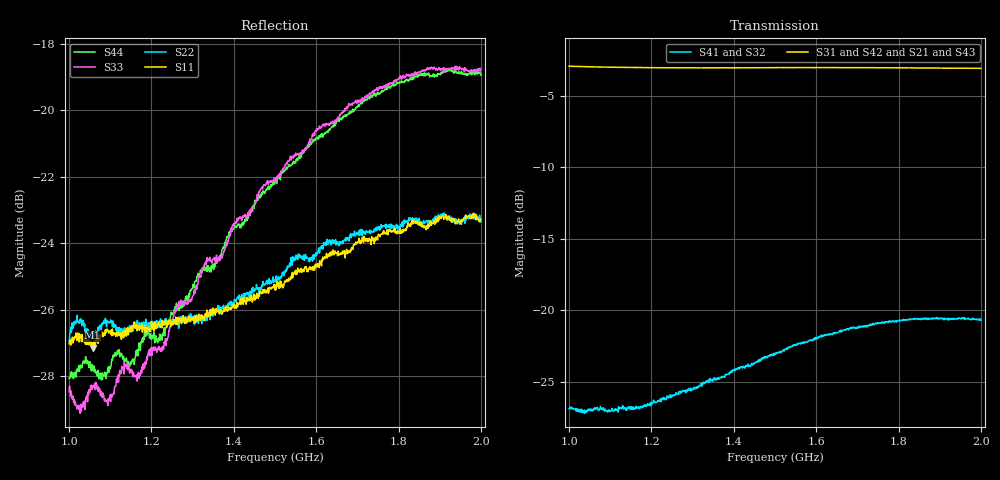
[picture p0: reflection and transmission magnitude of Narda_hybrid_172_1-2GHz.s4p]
#  HZ  S  DB  R  50.00
! Rohde & Schwarz Vector Network Analyzer
! Rohde-Schwarz,ZNB8-4Port,1311601044102961,2.82
! Created: UTC 1/17/2019, 2:09:20 PM
! freq[Hz]  db:S11  ang:S11  db:S12  ang:S12  db:S13  ang:S13  db:S14  ang:S14
!  db:S21  ang:S21  db:S22  ang:S22  db:S23  ang:S23  db:S24  ang:S24
!  db:S31  ang:S31  db:S32  ang:S32  db:S33  ang:S33  db:S34  ang:S34
!  db:S41  ang:S41  db:S42  ang:S42  db:S43  ang:S43  db:S44  ang:S44
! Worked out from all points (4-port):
!   1001 points, 1 GHz to 2 GHz, reference 50 ohm
!   strongest paths, dB at 1 GHz, 1.25 GHz, 1.5 GHz, 1.75 GHz, 2 GHz:
!     S31: -2.9, -3.0, -3.0, -3.0, -3.1
!     S42: -2.9, -3.0, -3.0, -3.0, -3.1
!     S21: -3.2, -3.1, -3.2, -3.2, -3.2
!     S43: -3.3, -3.2, -3.3, -3.3, -3.3
!     S41: -26.9, -26.0, -23.0, -20.9, -20.7
!     S32: -26.9, -26.1, -23.2, -21.1, -20.7
!   lowest |S11| = -27.1 dB at 1.057 GHz (marker M1), VSWR 1.09, Z = 51.3 - j4.27 ohm
!   |S11| at or under -10 dB: start of sweep to end of sweep
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1e9  -27.02 -52.7  -3.25 -159.4  -2.93 109.2  -26.69 175.2
     -3.23 -159.5  -26.93 -46.7  -26.85 175.8  -2.92 109.3
     -2.92 109.2  -26.86 175.9  -28.46 -47.0  -3.28 -162.0
     -26.87 174.7  -2.92 109.7  -3.28 -162.2  -28.05 -42.5
1.057e9  -27.14 -71.2  -3.21 -172.8  -2.97 95.8  -26.89 165.2
         -3.19 -173.0  -26.76 -60.7  -26.79 165.5  -2.97 96.0
         -2.96 95.9  -26.83 165.4  -28.31 -70.0  -3.24 -175.3
         -26.95 164.5  -2.98 95.8  -3.23 -175.8  -27.69 -59.7
1.301e9  -26.25 -143.4  -3.15 130.7  -3.03 38.6  -25.55 124.4
         -3.14 130.5  -26.19 -133.0  -25.62 123.9  -3.03 38.8
         -3.03 38.6  -25.59 123.8  -25.57 -146.6  -3.20 126.9
         -25.54 123.8  -3.04 38.6  -3.19 126.5  -25.23 -137.6
1.496e9  -25.31 165.5  -3.21 84.7  -3.02 -7.9  -23.07 82.6
         -3.19 84.6  -25.15 175.0  -23.27 83.8  -3.02 -7.8
         -3.02 -7.9  -23.30 84.0  -22.10 164.2  -3.27 79.9
         -23.07 82.1  -3.03 -8.0  -3.27 79.4  -22.12 168.8
1.619e9  -24.47 138.2  -3.24 55.6  -3.02 -37.4  -21.77 52.1
         -3.22 55.3  -23.99 144.6  -22.01 54.1  -3.02 -37.4
         -3.02 -37.4  -22.03 54.1  -20.42 136.6  -3.32 50.1
         -21.79 51.5  -3.03 -37.5  -3.32 49.6  -20.71 137.3
1.763e9  -23.71 108.9  -3.25 21.1  -3.03 -72.1  -20.86 13.3
         -3.23 20.8  -23.47 112.5  -21.02 17.0  -3.03 -72.0
         -3.02 -72.1  -21.03 17.2  -19.32 106.4  -3.35 14.9
         -20.86 13.4  -3.03 -72.2  -3.35 14.5  -19.43 103.6
2e9  -23.26 58.3  -3.23 -35.7  -3.07 -129.1  -20.69 -48.1
     -3.21 -36.1  -23.35 63.2  -20.71 -43.6  -3.07 -129.1
     -3.07 -129.1  -20.70 -43.3  -18.74 52.8  -3.35 -42.5
     -20.68 -48.6  -3.07 -129.2  -3.35 -43.0  -18.94 48.8
